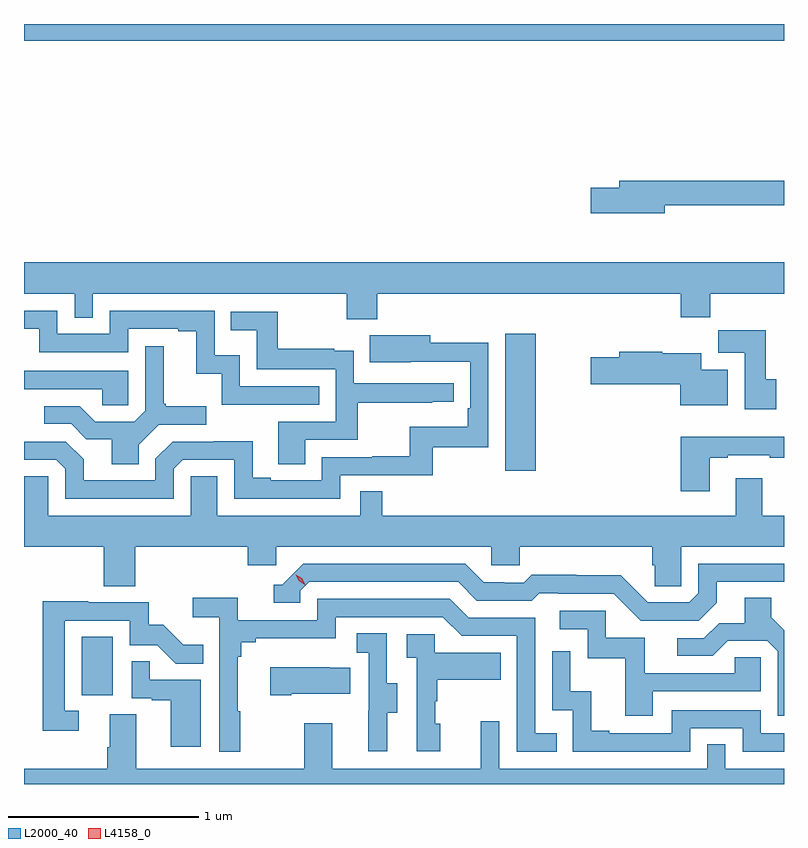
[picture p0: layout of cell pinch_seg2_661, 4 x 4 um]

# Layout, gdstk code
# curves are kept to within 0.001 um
import gdstk
lib = gdstk.Library(unit=1e-6, precision=1e-09)
def R(c, l, rs):  # rectangles x0, y0, x1, y1
    for r in rs: c.add(gdstk.rectangle(r[:2], r[2:], *l))
def P(c, l, *ps):  # polygons
    for p in ps: c.add(gdstk.Polygon(p, *l))
L2000_40 = (2000, 40)
L4158_0 = (4158, 0)

pinch_seg2_661 = lib.new_cell('pinch_seg2_661')
R(pinch_seg2_661, L2000_40, [(1045.994,598.902,1046.158,599.209), (1048.223,600.084,1048.384,600.805), (1045.69,602.348,1049.69,602.435)])
P(pinch_seg2_661, L2000_40, [(1049.062,601.482),(1049.69,601.482),(1049.69,601.61),(1048.823,601.61),(1048.823,601.574),(1048.674,601.574),(1048.674,601.439),(1049.062,601.439)],
  [(1047.548,601.016),(1049.147,601.016),(1049.147,600.892),(1049.303,600.892),(1049.303,601.016),(1049.69,601.016),(1049.69,601.18),(1045.69,601.18),(1045.69,601.016),(1045.956,601.016),(1045.956,600.889),(1046.052,600.889),(1046.052,601.016),(1047.388,601.016),(1047.388,600.881),(1047.548,600.881)],
  [(1047.245,600.528),(1046.826,600.528),(1046.826,600.691),(1046.694,600.691),(1046.694,600.927),(1046.142,600.927),(1046.142,600.804),(1045.866,600.804),(1045.866,600.927),(1045.69,600.927),(1045.69,600.831),(1045.77,600.831),(1045.77,600.708),(1046.238,600.708),(1046.238,600.831),(1046.501,600.831),(1046.501,600.819),(1046.597,600.819),(1046.597,600.593),(1046.73,600.593),(1046.73,600.432),(1047.245,600.432)],
  [(1047.169,600.246),(1047.446,600.246),(1047.446,600.442),(1047.839,600.442),(1047.839,600.447),(1047.952,600.447),(1047.952,600.543),(1047.426,600.543),(1047.426,600.715),(1047.323,600.715),(1047.323,600.727),(1047.025,600.727),(1047.025,600.921),(1046.779,600.921),(1046.779,600.824),(1046.914,600.824),(1046.914,600.618),(1047.33,600.618),(1047.33,600.342),(1047.029,600.342),(1047.029,600.118),(1047.169,600.118)],
  [(1049.65,600.564),(1049.593,600.564),(1049.593,600.823),(1049.344,600.823),(1049.344,600.704),(1049.483,600.704),(1049.483,600.408),(1049.65,600.408)],
  [(1046.478,600.093),(1046.526,600.141),(1046.796,600.141),(1046.796,599.937),(1047.354,599.937),(1047.354,600.06),(1047.841,600.06),(1047.841,600.207),(1048.134,600.207),(1048.134,600.758),(1047.829,600.758),(1047.829,600.796),(1047.511,600.796),(1047.511,600.656),(1048.038,600.657),(1048.038,600.412),(1048.025,600.412),(1048.025,600.316),(1047.72,600.316),(1047.72,600.161),(1047.523,600.161),(1047.523,600.156),(1047.258,600.156),(1047.258,600.033),(1046.989,600.033),(1046.989,600.046),(1046.893,600.046),(1046.893,600.239),(1046.688,600.239),(1046.688,600.237),(1046.472,600.237),(1046.382,600.147),(1046.382,600.033),(1046.005,600.033),(1046.005,600.143),(1045.911,600.237),(1045.69,600.237),(1045.69,600.141),(1045.86,600.141),(1045.908,600.093),(1045.908,599.937),(1046.478,599.937)],
  [(1046.293,600.22),(1046.4,600.327),(1046.65,600.327),(1046.65,600.424),(1046.437,600.424),(1046.437,600.436),(1046.425,600.436),(1046.425,600.739),(1046.328,600.739),(1046.328,600.399),(1046.271,600.342),(1046.065,600.342),(1045.984,600.423),(1045.797,600.423),(1045.797,600.33),(1045.938,600.33),(1046.018,600.25),(1046.153,600.25),(1046.153,600.118),(1046.293,600.118)],
  [(1049.395,600.616),(1049.254,600.616),(1049.254,600.703),(1049.048,600.703),(1049.048,600.711),(1048.823,600.711),(1048.823,600.681),(1048.674,600.681),(1048.674,600.539),(1049.144,600.539),(1049.144,600.428),(1049.395,600.428)],
  [(1046.238,600.609),(1045.69,600.609),(1045.69,600.513),(1046.101,600.513),(1046.101,600.429),(1046.238,600.429)],
  [(1049.299,600.153),(1049.395,600.153),(1049.395,600.165),(1049.615,600.165),(1049.615,600.153),(1049.69,600.153),(1049.69,600.262),(1049.147,600.262),(1049.147,599.976),(1049.299,599.976)],
  [(1046.276,599.684),(1046.867,599.684),(1046.867,599.586),(1047.018,599.586),(1047.018,599.684),(1048.149,599.684),(1048.149,599.586),(1048.299,599.586),(1048.299,599.684),(1048.997,599.684),(1048.997,599.586),(1049.011,599.586),(1049.011,599.476),(1049.148,599.476),(1049.148,599.684),(1049.69,599.684),(1049.69,599.848),(1049.575,599.848),(1049.575,600.043),(1049.435,600.043),(1049.435,599.848),(1047.575,599.848),(1047.575,599.975),(1047.459,599.975),(1047.459,599.848),(1046.707,599.848),(1046.707,600.056),(1046.568,600.056),(1046.568,599.848),(1045.818,599.848),(1045.818,600.056),(1045.69,600.056),(1045.69,599.684),(1046.111,599.684),(1046.111,599.476),(1046.276,599.476)],
  [(1049.335,599.389),(1049.335,599.499),(1049.69,599.499),(1049.69,599.595),(1049.238,599.595),(1049.238,599.439),(1049.19,599.391),(1048.974,599.391),(1048.832,599.533),(1048.596,599.533),(1048.596,599.536),(1048.363,599.536),(1048.321,599.493),(1048.218,599.493),(1048.218,599.496),(1048.111,599.496),(1048.012,599.595),(1047.159,599.595),(1047.048,599.484),(1047.005,599.484),(1047.005,599.388),(1047.144,599.388),(1047.144,599.451),(1047.192,599.499),(1047.975,599.499),(1048.074,599.4),(1048.363,599.4),(1048.402,599.439),(1048.501,599.439),(1048.501,599.436),(1048.794,599.436),(1048.935,599.295),(1049.241,599.295)],
  [(1049.69,599.245),(1049.623,599.312),(1049.623,599.414),(1049.483,599.414),(1049.483,599.282),(1049.348,599.282),(1049.268,599.202),(1049.127,599.202),(1049.127,599.109),(1049.314,599.109),(1049.395,599.19),(1049.601,599.19),(1049.658,599.133),(1049.658,598.794),(1049.69,598.794)],
  [(1046.827,598.817),(1046.815,598.817),(1046.815,599.105),(1046.834,599.105),(1046.834,599.182),(1046.911,599.182),(1046.911,599.201),(1047.33,599.201),(1047.33,599.313),(1047.894,599.313),(1047.993,599.214),(1048.284,599.214),(1048.284,598.605),(1048.493,598.605),(1048.493,598.701),(1048.38,598.701),(1048.38,599.31),(1048.03,599.31),(1047.931,599.409),(1047.234,599.409),(1047.234,599.298),(1046.816,599.298),(1046.816,599.414),(1046.577,599.414),(1046.577,599.312),(1046.718,599.312),(1046.718,598.605),(1046.827,598.605)],
  [(1045.978,598.821),(1045.905,598.821),(1045.905,599.295),(1046.247,599.295),(1046.247,599.166),(1046.391,599.166),(1046.489,599.068),(1046.633,599.068),(1046.633,599.167),(1046.529,599.167),(1046.422,599.274),(1046.346,599.274),(1046.346,599.391),(1046.027,599.391),(1046.027,599.396),(1045.789,599.396),(1045.789,598.716),(1045.978,598.716)],
  [(1048.999,598.923),(1049.568,598.923),(1049.568,599.103),(1049.431,599.103),(1049.431,599.019),(1048.957,599.019),(1048.957,599.205),(1048.752,599.205),(1048.752,599.346),(1048.509,599.346),(1048.509,599.25),(1048.656,599.25),(1048.656,599.097),(1048.855,599.097),(1048.855,598.794),(1048.999,598.794)],
  [(1047.601,598.81),(1047.655,598.81),(1047.655,598.965),(1047.6,598.965),(1047.6,599.228),(1047.441,599.228),(1047.441,599.125),(1047.504,599.125),(1047.504,598.821),(1047.503,598.821),(1047.503,598.608),(1047.601,598.608)],
  [(1047.88,598.752),(1047.855,598.752),(1047.855,598.871),(1047.865,598.871),(1047.865,598.985),(1048.199,598.985),(1048.199,599.125),(1047.852,599.125),(1047.852,599.223),(1047.705,599.223),(1047.705,599.099),(1047.756,599.099),(1047.756,598.608),(1047.88,598.608)],
  [(1049.196,598.728),(1049.472,598.728),(1049.472,598.605),(1049.69,598.605),(1049.69,598.701),(1049.568,598.701),(1049.568,598.824),(1049.1,598.824),(1049.1,598.701),(1048.771,598.701),(1048.771,598.714),(1048.676,598.714),(1048.676,598.922),(1048.566,598.922),(1048.566,599.134),(1048.47,599.134),(1048.47,598.824),(1048.578,598.824),(1048.578,598.605),(1049.196,598.605)],
  [(1046.62,598.983),(1046.351,598.983),(1046.351,599.081),(1046.256,599.081),(1046.256,598.887),(1046.363,598.887),(1046.363,598.875),(1046.462,598.875),(1046.462,598.632),(1046.62,598.632)],
  [(1047.097,598.91),(1047.407,598.91),(1047.407,599.047),(1047.299,599.047),(1047.299,599.05),(1046.985,599.05),(1046.985,598.903),(1047.097,598.903)],
  [(1049.69,598.516),(1049.382,598.516),(1049.382,598.643),(1049.286,598.643),(1049.286,598.516),(1048.191,598.516),(1048.191,598.765),(1048.094,598.765),(1048.094,598.516),(1047.313,598.516),(1047.313,598.756),(1047.166,598.756),(1047.166,598.516),(1046.281,598.516),(1046.281,598.802),(1046.141,598.802),(1046.141,598.628),(1046.129,598.628),(1046.129,598.516),(1045.69,598.516),(1045.69,598.435),(1049.69,598.435)])
P(pinch_seg2_661, L4158_0, [(1047.168,599.485),(1047.137,599.504),(1047.12,599.537),(1047.12,599.537),(1047.121,599.537),(1047.152,599.518),(1047.169,599.485),(1047.169,599.485)])

lib.write_gds('pinch_seg2_661.gds')
